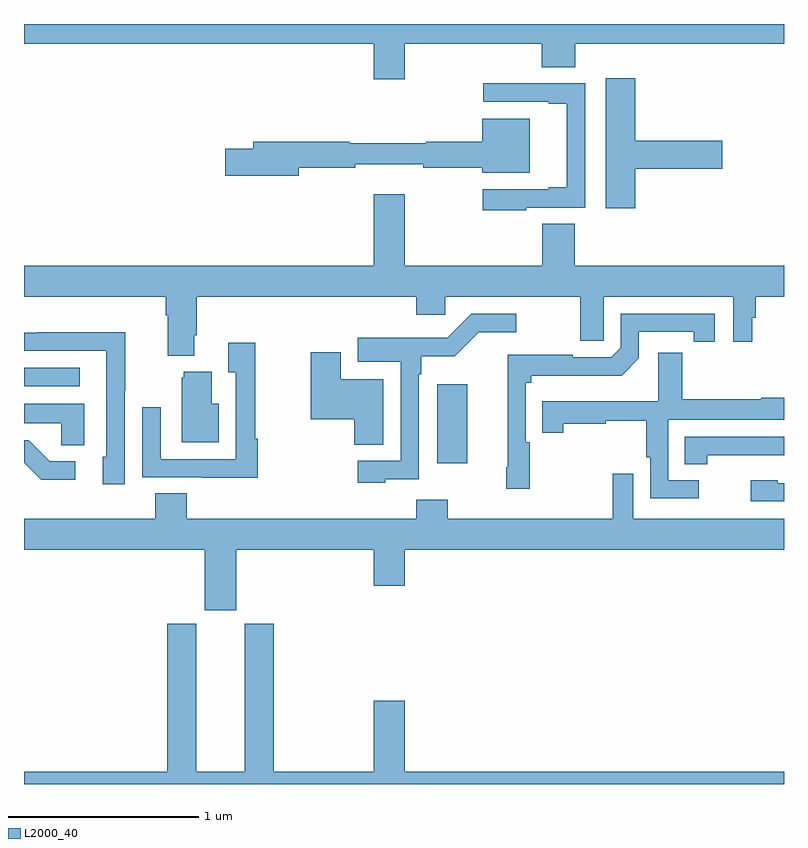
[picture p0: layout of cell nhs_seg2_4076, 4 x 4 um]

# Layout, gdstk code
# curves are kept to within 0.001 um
import gdstk
lib = gdstk.Library(unit=1e-6, precision=1e-09)
def R(c, l, rs):  # rectangles x0, y0, x1, y1
    for r in rs: c.add(gdstk.rectangle(r[:2], r[2:], *l))
def P(c, l, *ps):  # polygons
    for p in ps: c.add(gdstk.Polygon(p, *l))
L2000_40 = (2000, 40)

nhs_seg2_4076 = lib.new_cell('nhs_seg2_4076')
R(nhs_seg2_4076, L2000_40, [(333.176,585.489,333.334,585.904), (331,585.894,331.294,585.99)])
P(nhs_seg2_4076, L2000_40, [(335,587.8),(331,587.8),(331,587.696),(332.84,587.696),(332.84,587.508),(333.004,587.508),(333.004,587.696),(333.725,587.696),(333.725,587.572),(333.902,587.572),(333.902,587.696),(335,587.696)],
  [(334.217,587.039),(334.675,587.039),(334.675,587.186),(334.217,587.186),(334.217,587.515),(334.061,587.515),(334.061,586.83),(334.217,586.83)],
  [(333.644,586.833),(333.954,586.833),(333.954,587.487),(333.641,587.487),(333.641,587.489),(333.417,587.489),(333.417,587.391),(333.761,587.391),(333.761,587.379),(333.857,587.379),(333.857,586.942),(333.761,586.942),(333.761,586.929),(333.414,586.929),(333.414,586.821),(333.644,586.821)],
  [(332.446,587.044),(332.744,587.044),(332.744,587.063),(333.1,587.063),(333.1,587.044),(333.413,587.044),(333.413,587.018),(333.661,587.018),(333.661,587.302),(333.413,587.302),(333.413,587.18),(333.117,587.18),(333.117,587.173),(332.711,587.173),(332.711,587.18),(332.207,587.18),(332.207,587.144),(332.058,587.144),(332.058,587.002),(332.446,587.002)],
  [(331.897,586.162),(331.91,586.162),(331.91,586.364),(333.065,586.364),(333.065,586.271),(333.216,586.271),(333.216,586.364),(333.928,586.364),(333.928,586.132),(334.05,586.132),(334.05,586.364),(334.733,586.364),(334.733,586.128),(334.834,586.128),(334.834,586.254),(334.852,586.254),(334.852,586.364),(335,586.364),(335,586.528),(333.899,586.528),(333.899,586.748),(333.728,586.748),(333.728,586.528),(333.004,586.528),(333.004,586.903),(332.84,586.903),(332.84,586.528),(331,586.528),(331,586.364),(331.745,586.364),(331.745,586.268),(331.757,586.268),(331.757,586.055),(331.897,586.055)],
  [(332.901,585.405),(333.078,585.405),(333.078,585.956),(333.091,585.956),(333.091,586.052),(333.268,586.052),(333.394,586.178),(333.592,586.178),(333.592,586.275),(333.353,586.275),(333.227,586.149),(332.757,586.15),(332.757,586.022),(332.982,586.022),(332.982,585.501),(332.757,585.501),(332.757,585.386),(332.901,585.386)],
  [(333.662,585.598),(333.642,585.598),(333.642,585.912),(333.67,585.912),(333.67,585.95),(334.145,585.95),(334.236,586.041),(334.236,586.179),(334.526,586.179),(334.526,586.128),(334.636,586.128),(334.636,586.275),(334.14,586.275),(334.14,586.095),(334.092,586.047),(333.889,586.047),(333.889,586.06),(333.545,586.06),(333.545,585.466),(333.539,585.466),(333.539,585.354),(333.662,585.354)],
  [(331.53,585.871),(331.533,585.871),(331.533,586.178),(331.069,586.178),(331.069,586.176),(331,586.176),(331,586.08),(331.434,586.08),(331.434,585.522),(331.415,585.522),(331.415,585.378),(331.53,585.378)],
  [(332.231,585.617),(332.216,585.617),(332.216,586.123),(332.075,586.123),(332.075,585.967),(332.115,585.967),(332.115,585.51),(331.719,585.51),(331.719,585.784),(331.623,585.784),(331.623,585.414),(331.939,585.414),(331.939,585.413),(332.231,585.413)],
  [(332.89,585.931),(332.668,585.931),(332.668,586.072),(332.51,586.072),(332.51,585.719),(332.738,585.719),(332.738,585.586),(332.89,585.586)],
  [(334.552,585.399),(334.392,585.399),(334.392,585.717),(335,585.717),(335,585.833),(334.879,585.833),(334.879,585.826),(334.465,585.826),(334.465,586.069),(334.337,586.069),(334.337,585.814),(333.727,585.814),(333.727,585.648),(333.838,585.648),(333.838,585.697),(334.062,585.697),(334.062,585.712),(334.276,585.712),(334.276,585.52),(334.296,585.52),(334.296,585.303),(334.552,585.303)],
  [(332.026,585.802),(331.987,585.802),(331.987,585.97),(331.841,585.97),(331.841,585.939),(331.829,585.939),(331.829,585.599),(332.026,585.599)],
  [(331.318,585.802),(331,585.802),(331,585.698),(331.197,585.698),(331.197,585.583),(331.318,585.583)],
  [(334.596,585.53),(335,585.53),(335,585.627),(334.477,585.627),(334.477,585.484),(334.596,585.484)],
  [(331.27,585.498),(331.135,585.498),(331.024,585.609),(331,585.609),(331,585.491),(331.091,585.401),(331.27,585.401)],
  [(332.116,585.032),(332.84,585.032),(332.84,584.844),(333.004,584.844),(333.004,585.032),(335,585.032),(335,585.196),(334.206,585.196),(334.206,585.433),(334.098,585.433),(334.098,585.196),(333.23,585.196),(333.23,585.295),(333.065,585.295),(333.065,585.196),(331.856,585.196),(331.856,585.329),(331.691,585.329),(331.691,585.196),(331,585.196),(331,585.032),(331.952,585.032),(331.952,584.715),(332.116,584.715)],
  [(335,585.384),(334.968,585.384),(334.968,585.4),(334.824,585.4),(334.824,585.288),(335,585.288)],
  [(335,583.864),(333.004,583.864),(333.004,584.239),(332.84,584.239),(332.84,583.864),(332.315,583.864),(332.315,584.643),(332.162,584.643),(332.162,583.864),(331.906,583.864),(331.906,584.643),(331.754,584.643),(331.754,583.864),(331,583.864),(331,583.8),(335,583.8)])

lib.write_gds('nhs_seg2_4076.gds')
